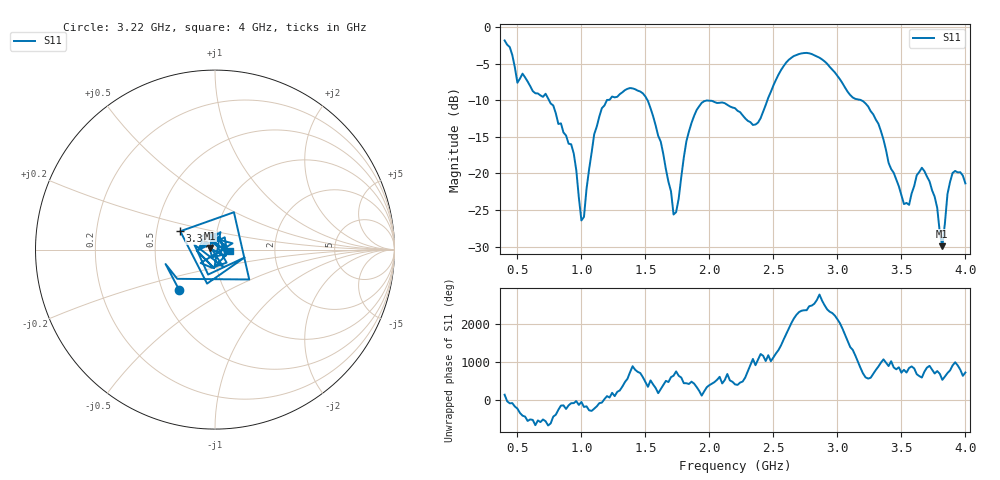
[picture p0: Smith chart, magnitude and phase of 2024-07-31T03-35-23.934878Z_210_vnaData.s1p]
!Created with skrf (http://scikit-rf.org).
# Hz S RI R 50.0
!freq ReS11 ImS11
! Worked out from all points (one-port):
!   181 points, 400 MHz to 4 GHz, reference 50 ohm
!   lowest |S11| = -29.9 dB at 3.82 GHz (marker M1), VSWR 1.07, Z = 47 + j0.906 ohm
!   |S11| at or under -10 dB: 746.9 MHz to 1.199 GHz (452.3 MHz wide, 46.5 % of centre); 1.516 GHz to 2.453 GHz (936.8 MHz wide, 47.2 % of centre); 3.185 GHz to end of sweep
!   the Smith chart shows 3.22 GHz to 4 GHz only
!   S11 on the Smith chart (normalised r, x): 3.22 GHz: 0.61, -0.30; 3.32 GHz: 0.66, +0.14; 4 GHz: 1.19, -0.01
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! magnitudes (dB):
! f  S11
! 400 MHz  -1.8
! 500 MHz  -7.6
! 720 MHz  -9.1
! 860 MHz  -14.4
! 940 MHz  -17.3
! 1 GHz  -26.4
! 1.14 GHz  -12.2
! 1.3 GHz  -9.2
! 1.52 GHz  -10.1
! 1.62 GHz  -15.7
! 1.72 GHz  -25.6
! 1.76 GHz  -23.4
! 1.82 GHz  -15.6
! 1.9 GHz  -11.4
! 2.2 GHz  -11.1
! 2.38 GHz  -13.1
! 2.66 GHz  -4.0
! 2.88 GHz  -4.4
! 3.1 GHz  -9.3
! 3.22 GHz  -10.4
! 3.32 GHz  -13.2
! 3.56 GHz  -24.3
! 3.66 GHz  -19.2
! 3.76 GHz  -23.2
! 3.82 GHz  -29.9
! 3.86 GHz  -22.8
! 3.9 GHz  -19.9
! 4 GHz  -21.4
